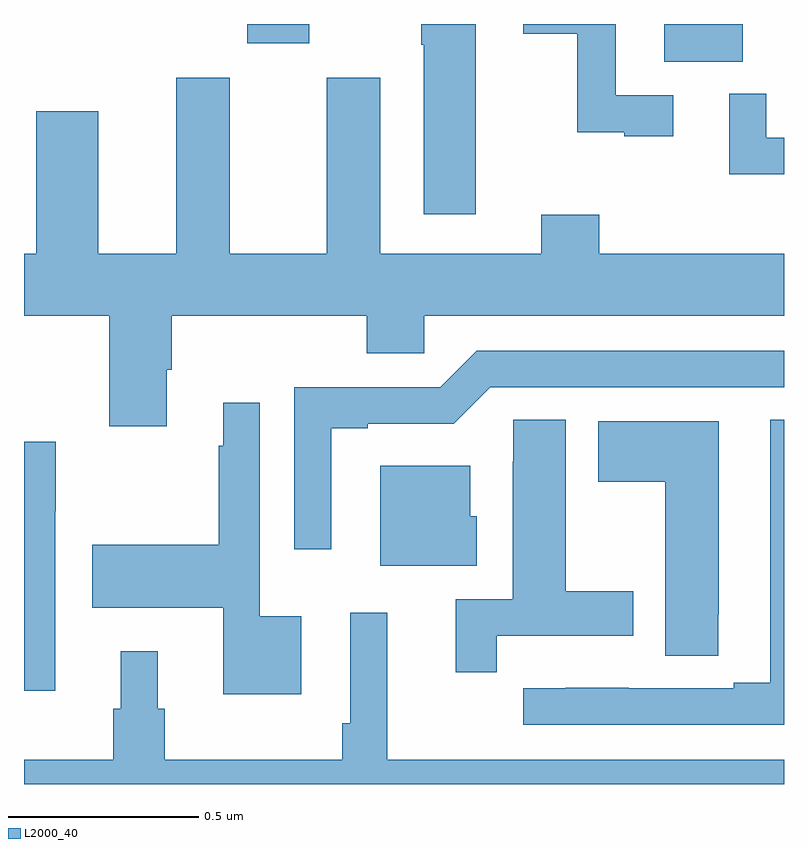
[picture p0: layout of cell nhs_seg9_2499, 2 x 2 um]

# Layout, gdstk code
import gdstk
lib = gdstk.Library(unit=1e-6, precision=1e-09)
def R(c, l, rs):  # rectangles x0, y0, x1, y1
    for r in rs: c.add(gdstk.rectangle(r[:2], r[2:], *l))
def P(c, l, *ps):  # polygons
    for p in ps: c.add(gdstk.Polygon(p, *l))
L2000_40 = (2000, 40)

nhs_seg9_2499 = lib.new_cell('nhs_seg9_2499')
R(nhs_seg9_2499, L2000_40, [(142.685,1218.401,142.891,1218.5), (141.587,1218.45,141.751,1218.5)])
P(nhs_seg9_2499, L2000_40, [(142.189,1218.5),(142.045,1218.5),(142.045,1218.445),(142.052,1218.445),(142.052,1218),(142.189,1218)],
  [(142.708,1218.312),(142.557,1218.312),(142.557,1218.5),(142.314,1218.5),(142.314,1218.475),(142.456,1218.475),(142.456,1218.215),(142.58,1218.215),(142.58,1218.204),(142.708,1218.204)],
  [(141.797,1217.896),(141.541,1217.896),(141.541,1218.358),(141.401,1218.358),(141.401,1217.896),(141.196,1217.896),(141.196,1218.271),(141.032,1218.271),(141.032,1217.896),(141,1217.896),(141,1217.732),(141.224,1217.732),(141.224,1217.442),(141.376,1217.442),(141.376,1217.59),(141.389,1217.59),(141.389,1217.732),(141.902,1217.732),(141.902,1217.634),(142.053,1217.634),(142.053,1217.732),(143,1217.732),(143,1217.896),(142.514,1217.896),(142.514,1217.998),(142.361,1217.998),(142.361,1217.896),(141.937,1217.896),(141.937,1218.358),(141.797,1218.358)],
  [(143,1218.201),(142.953,1218.201),(142.953,1218.316),(142.856,1218.316),(142.856,1218.105),(143,1218.105)],
  [(141.808,1217.436),(141.904,1217.436),(141.904,1217.448),(142.131,1217.448),(142.227,1217.544),(143,1217.544),(143,1217.64),(142.191,1217.64),(142.095,1217.544),(141.711,1217.544),(141.711,1217.118),(141.808,1217.118)],
  [(141.73,1216.942),(141.621,1216.942),(141.621,1217.503),(141.524,1217.503),(141.524,1217.39),(141.513,1217.39),(141.513,1217.13),(141.18,1217.13),(141.18,1216.964),(141.524,1216.964),(141.524,1216.736),(141.73,1216.736)],
  [(143,1217.459),(142.964,1217.459),(142.964,1216.767),(142.868,1216.767),(142.868,1216.752),(142.592,1216.752),(142.592,1216.753),(142.426,1216.753),(142.426,1216.752),(142.314,1216.752),(142.314,1216.656),(143,1216.656)],
  [(142.244,1216.89),(142.603,1216.89),(142.603,1217.007),(142.426,1217.007),(142.426,1217.459),(142.287,1217.459),(142.287,1217.348),(142.286,1217.348),(142.286,1216.986),(142.136,1216.986),(142.136,1216.794),(142.244,1216.794)],
  [(142.827,1216.945),(142.828,1216.945),(142.828,1217.455),(142.511,1217.455),(142.511,1217.296),(142.688,1217.296),(142.688,1216.837),(142.827,1216.837)],
  [(141.082,1217.218),(141.084,1217.218),(141.084,1217.401),(141,1217.401),(141,1216.746),(141.082,1216.746)],
  [(142.192,1217.205),(142.174,1217.205),(142.174,1217.338),(141.938,1217.338),(141.938,1217.075),(142.192,1217.075)],
  [(143,1216.564),(141.956,1216.564),(141.956,1216.951),(141.858,1216.951),(141.858,1216.66),(141.838,1216.66),(141.838,1216.564),(141.371,1216.564),(141.371,1216.698),(141.352,1216.698),(141.352,1216.849),(141.254,1216.849),(141.254,1216.698),(141.235,1216.698),(141.235,1216.564),(141,1216.564),(141,1216.5),(143,1216.5)])

lib.write_gds('nhs_seg9_2499.gds')
